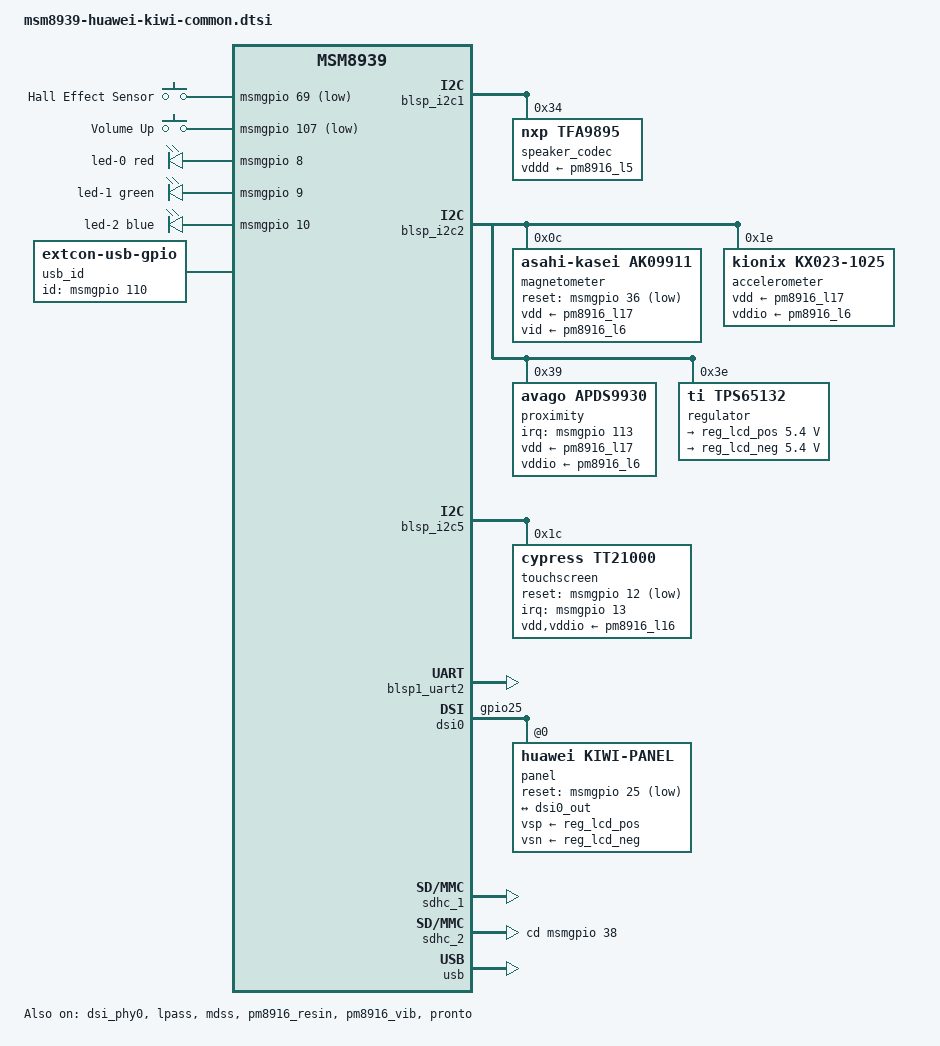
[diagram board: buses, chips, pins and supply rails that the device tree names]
// SPDX-License-Identifier: GPL-2.0-only

/dts-v1/;

#include "msm8939-pm8916.dtsi"
#include <dt-bindings/gpio/gpio.h>
#include <dt-bindings/leds/common.h>
#include <dt-bindings/sound/apq8016-lpass.h>

/ {
	aliases {
		serial0 = &blsp1_uart2;
	};

	chosen {
		stdout-path = "serial0";
	};

	reserved-memory {
		/delete-node/ venus@8c300000;
		/delete-node/ mba@8cb00000;

		reserved@84a00000 {
			reg = <0x0 0x84a00000 0x0 0x1600000>;
			no-map;
		};

		mba_mem: mba@8c300000 {
			reg = <0x0 0x8c300000 0x0 0x100000>;
			no-map;
		};

		tz-hwlog@8c700000 {
			reg = <0x0 0x8c700000 0x0 0x400000>;
			no-map;
		};

		ramoops@8cb00000 {
			compatible = "ramoops";
			reg = <0x0 0x8cb00000 0x0 0x200000>;

			record-size = <0x10000>;
			console-size = <0x100000>;
			ftrace-size = <0>;
		};

		venus_mem: venus@8f800000 {
			reg = <0x0 0x8f800000 0x0 0x800000>;
			no-map;
		};
	};

	gpio-hall-sensor {
		compatible = "gpio-keys";

		pinctrl-names = "default";
		pinctrl-0 = <&gpio_hall_sensor_default>;

		label = "GPIO Hall Effect Sensor";

		event-hall-sensor {
			label = "Hall Effect Sensor";
			gpios = <&msmgpio 69 GPIO_ACTIVE_LOW>;
			linux,input-type = <EV_SW>;
			linux,code = <SW_LID>;
			linux,can-disable;
		};
	};

	gpio-keys {
		compatible = "gpio-keys";

		pinctrl-names = "default";
		pinctrl-0 = <&gpio_keys_default>;

		label = "GPIO Keys";

		button-volume-up {
			label = "Volume Up";
			gpios = <&msmgpio 107 GPIO_ACTIVE_LOW>;
			linux,code = <KEY_VOLUMEUP>;
		};
	};

	gpio-leds {
		compatible = "gpio-leds";

		pinctrl-names = "default";
		pinctrl-0 = <&gpio_leds_default>;

		led-0 {
			gpios = <&msmgpio 8 GPIO_ACTIVE_HIGH>;
			color = <LED_COLOR_ID_RED>;
			default-state = "off";
			function = LED_FUNCTION_INDICATOR;
			retain-state-suspended;
		};

		led-1 {
			gpios = <&msmgpio 9 GPIO_ACTIVE_HIGH>;
			color = <LED_COLOR_ID_GREEN>;
			default-state = "off";
			function = LED_FUNCTION_INDICATOR;
			retain-state-suspended;
		};

		led-2 {
			gpios = <&msmgpio 10 GPIO_ACTIVE_HIGH>;
			color = <LED_COLOR_ID_BLUE>;
			default-state = "off";
			function = LED_FUNCTION_INDICATOR;
			retain-state-suspended;
		};
	};

	usb_id: usb-id {
		compatible = "linux,extcon-usb-gpio";
		id-gpio = <&msmgpio 110 GPIO_ACTIVE_HIGH>;
		pinctrl-names = "default";
		pinctrl-0 = <&usb_id_default>;
	};
};

&blsp_i2c1 {
	status = "okay";

	speaker_codec: audio-codec@34 {
		compatible = "nxp,tfa9895";
		reg = <0x34>;
		vddd-supply = <&pm8916_l5>;
		#sound-dai-cells = <0>;
	};
};

&blsp_i2c2 {
	status = "okay";

	magnetometer@c {
		compatible = "asahi-kasei,ak09911";
		reg = <0x0c>;
		vdd-supply = <&pm8916_l17>;
		vid-supply = <&pm8916_l6>;
		reset-gpios = <&msmgpio 36 GPIO_ACTIVE_LOW>;
		pinctrl-names = "default";
		pinctrl-0 = <&mag_reset_default>;
	};

	accelerometer@1e {
		compatible = "kionix,kx023-1025";
		reg = <0x1e>;

		vdd-supply = <&pm8916_l17>;
		vddio-supply = <&pm8916_l6>;
		pinctrl-names = "default";
		pinctrl-0 = <&accel_int_default>;
		mount-matrix = "-1", "0", "0",
			       "0", "1", "0",
			       "0", "0", "1";
	};

	proximity@39 {
		compatible = "avago,apds9930";
		reg = <0x39>;

		interrupt-parent = <&msmgpio>;
		interrupts = <113 IRQ_TYPE_EDGE_FALLING>;

		vdd-supply = <&pm8916_l17>;
		vddio-supply = <&pm8916_l6>;

		led-max-microamp = <25000>;
		amstaos,proximity-diodes = <0>;

		pinctrl-names = "default";
		pinctrl-0 = <&prox_irq_default>;
	};

	regulator@3e {
		compatible = "ti,tps65132";
		reg = <0x3e>;

		pinctrl-names = "default";
		pinctrl-0 = <&reg_lcd_en_default>;

		reg_lcd_pos: outp {
			regulator-name = "outp";
			regulator-min-microvolt = <5400000>;
			regulator-max-microvolt = <5400000>;
			enable-gpios = <&msmgpio 97 GPIO_ACTIVE_HIGH>;
			regulator-active-discharge = <1>;
		};

		reg_lcd_neg: outn {
			regulator-name = "outn";
			regulator-min-microvolt = <5400000>;
			regulator-max-microvolt = <5400000>;
			enable-gpios = <&msmgpio 32 GPIO_ACTIVE_HIGH>;
			regulator-active-discharge = <1>;
		};
	};
};

&blsp_i2c5 {
	status = "okay";

	touchscreen@1c {
		compatible = "cypress,tt21000";
		reg = <0x1c>;

		interrupt-parent = <&msmgpio>;
		interrupts = <13 IRQ_TYPE_EDGE_FALLING>;

		reset-gpios = <&msmgpio 12 GPIO_ACTIVE_LOW>;

		/*
		 * NOTE: vdd is not directly supplied by pm8916_l16, it seems to be a
		 * fixed regulator that is automatically enabled by pm8916_l16.
		 */
		vdd-supply = <&pm8916_l16>;
		vddio-supply = <&pm8916_l16>;

		pinctrl-names = "default";
		pinctrl-0 = <&touchscreen_default>;
	};
};

&blsp1_uart2 {
	status = "okay";
};

&dsi0 {
	status = "okay";
	pinctrl-names = "default", "sleep";
	pinctrl-0 = <&mdss_default>;
	pinctrl-1 = <&mdss_sleep>;

	panel@0 {
		compatible = "huawei,kiwi-panel";
		reg = <0>;

		vsp-supply = <&reg_lcd_pos>;
		vsn-supply = <&reg_lcd_neg>;
		reset-gpios = <&msmgpio 25 GPIO_ACTIVE_LOW>;

		port {
			panel_in: endpoint {
				remote-endpoint = <&dsi0_out>;
			};
		};
	};
};

&dsi0_out {
	data-lanes = <0 1 2 3>;
	remote-endpoint = <&panel_in>;
};

&dsi_phy0 {
	status = "okay";
	qcom,dsi-phy-regulator-ldo-mode;
};

&lpass {
	status = "okay";
};

&mdss {
	status = "okay";
};

&pm8916_resin {
	status = "okay";
	linux,code = <KEY_VOLUMEDOWN>;
};

&pm8916_vib {
	status = "okay";
};

&pronto {
	status = "okay";
};

&sdhc_1 {
	status = "okay";
	pinctrl-names = "default", "sleep";
	pinctrl-0 = <&sdc1_clk_on &sdc1_cmd_on &sdc1_data_on>;
	pinctrl-1 = <&sdc1_clk_off &sdc1_cmd_off &sdc1_data_off>;
};

&sdhc_2 {
	status = "okay";
	pinctrl-names = "default", "sleep";
	pinctrl-0 = <&sdc2_clk_on &sdc2_cmd_on &sdc2_data_on &sdc2_cd_off>;
	pinctrl-1 = <&sdc2_clk_off &sdc2_cmd_off &sdc2_data_off &sdc2_cd_off>;

	cd-gpios = <&msmgpio 38 GPIO_ACTIVE_HIGH>;
};

&sound {
	status = "okay";

	model = "samsung-a2015";
	audio-routing =
		"AMIC1", "MIC BIAS External1",
		"AMIC2", "MIC BIAS Internal2",
		"AMIC3", "MIC BIAS External1";

	pinctrl-names = "default", "sleep";
	pinctrl-0 = <&cdc_pdm_lines_act &ext_sec_tlmm_lines_act>;
	pinctrl-1 = <&cdc_pdm_lines_sus &ext_sec_tlmm_lines_sus>;

	dai-link-primary {
		link-name = "Primary MI2S";
		cpu {
			sound-dai = <&lpass MI2S_PRIMARY>;
		};
		codec {
			sound-dai = <&lpass_codec 0>, <&wcd_codec 0>;
		};
	};

	dai-link-tertiary {
		link-name = "Tertiary MI2S";
		cpu {
			sound-dai = <&lpass MI2S_TERTIARY>;
		};
		codec {
			sound-dai = <&lpass_codec 1>, <&wcd_codec 1>;
		};
	};

	dai-link-quaternary {
		link-name = "Quaternary MI2S";

		cpu {
			sound-dai = <&lpass MI2S_QUATERNARY>;
		};
		codec {
			sound-dai = <&speaker_codec>;
		};
	};
};

&usb {
	status = "okay";
	extcon = <&usb_id>, <&usb_id>;
};

&usb_hs_phy {
	extcon = <&usb_id>;
};

&wcd_codec {
	qcom,micbias-lvl = <2800>;
	qcom,mbhc-vthreshold-low = <75 150 237 450 500>;
	qcom,mbhc-vthreshold-high = <75 150 237 450 500>;
	qcom,micbias1-ext-cap;
	qcom,hphl-jack-type-normally-open;
};

&smd_rpm_regulators {
	vdd_l1_l2_l3-supply = <&pm8916_s3>;
	vdd_l4_l5_l6-supply = <&pm8916_s4>;
	vdd_l7-supply = <&pm8916_s4>;

	/* s1 s2 and l3 are based on power domain model */

	s3 {
		regulator-min-microvolt = <1200000>;
		regulator-max-microvolt = <1300000>;
	};

	s4 {
		regulator-min-microvolt = <1800000>;
		regulator-max-microvolt = <2100000>;
	};

	l1 {
		regulator-min-microvolt = <1225000>;
		regulator-max-microvolt = <1225000>;
	};

	l2 {
		regulator-min-microvolt = <1200000>;
		regulator-max-microvolt = <1200000>;
	};

	l4 {
		regulator-min-microvolt = <2050000>;
		regulator-max-microvolt = <2050000>;
	};

	l5 {
		regulator-min-microvolt = <1800000>;
		regulator-max-microvolt = <1800000>;
	};

	l6 {
		regulator-min-microvolt = <1800000>;
		regulator-max-microvolt = <1800000>;
	};

	l7 {
		regulator-min-microvolt = <1800000>;
		regulator-max-microvolt = <1800000>;
	};

	l8 {
		regulator-min-microvolt = <2950000>;
		regulator-max-microvolt = <2950000>;
	};

	l9 {
		regulator-min-microvolt = <3300000>;
		regulator-max-microvolt = <3300000>;
	};

	l10 {
		regulator-min-microvolt = <2700000>;
		regulator-max-microvolt = <2800000>;
	};

	l11 {
		regulator-min-microvolt = <1800000>;
		regulator-max-microvolt = <2950000>;
		regulator-allow-set-load;
		regulator-system-load = <200000>;
	};

	l12 {
		regulator-min-microvolt = <1800000>;
		regulator-max-microvolt = <2950000>;
	};

	l13 {
		regulator-min-microvolt = <3075000>;
		regulator-max-microvolt = <3075000>;
	};

	l14 {
		regulator-min-microvolt = <1800000>;
		regulator-max-microvolt = <3300000>;
	};

	l15 {
		regulator-min-microvolt = <1800000>;
		regulator-max-microvolt = <3300000>;
	};

	l16 {
		regulator-min-microvolt = <1800000>;
		regulator-max-microvolt = <1800000>;
	};

	l17 {
		regulator-min-microvolt = <2850000>;
		regulator-max-microvolt = <2850000>;
	};

	l18 {
		regulator-min-microvolt = <2700000>;
		regulator-max-microvolt = <2700000>;
	};
};

&msmgpio {
	accel_int_default: accel-int-default-state {
		pins = "gpio115";
		function = "gpio";

		drive-strength = <2>;
		bias-disable;
	};

	gpio_hall_sensor_default: gpio-hall-sensor-default-state {
		pins = "gpio69";
		function = "gpio";

		drive-strength = <2>;
		bias-disable;
	};

	gpio_keys_default: gpio-keys-default-state {
		pins = "gpio107";
		function = "gpio";

		drive-strength = <2>;
		bias-pull-up;
	};

	gpio_leds_default: gpio-leds-default-state {
		pins = "gpio8", "gpio9", "gpio10";
		function = "gpio";

		drive-strength = <2>;
		bias-disable;
	};

	mag_reset_default: mag-reset-default-state {
		pins = "gpio36";
		function = "gpio";

		drive-strength = <2>;
		bias-disable;
	};

	mdss_default: mdss-default-state {
		pins = "gpio25";
		function = "gpio";

		drive-strength = <8>;
		bias-disable;
	};

	mdss_sleep: mdss-sleep-state {
		pins = "gpio25";
		function = "gpio";

		drive-strength = <2>;
		bias-pull-down;
	};

	prox_irq_default: prox-irq-default-state {
		pins = "gpio113";
		function = "gpio";

		drive-strength = <2>;
		bias-disable;
	};

	reg_lcd_en_default: reg-lcd-en-default {
		pins = "gpio32", "gpio97";
		function = "gpio";

		drive-strength = <2>;
		bias-disable;
	};

	touchscreen_default: touchscreen-default-state {
		pins = "gpio12", "gpio13";
		function = "gpio";

		drive-strength = <2>;
		bias-disable;
	};

	usb_id_default: usb-id-default-state {
		pins = "gpio110";
		function = "gpio";

		drive-strength = <8>;
		bias-pull-up;
	};
};
